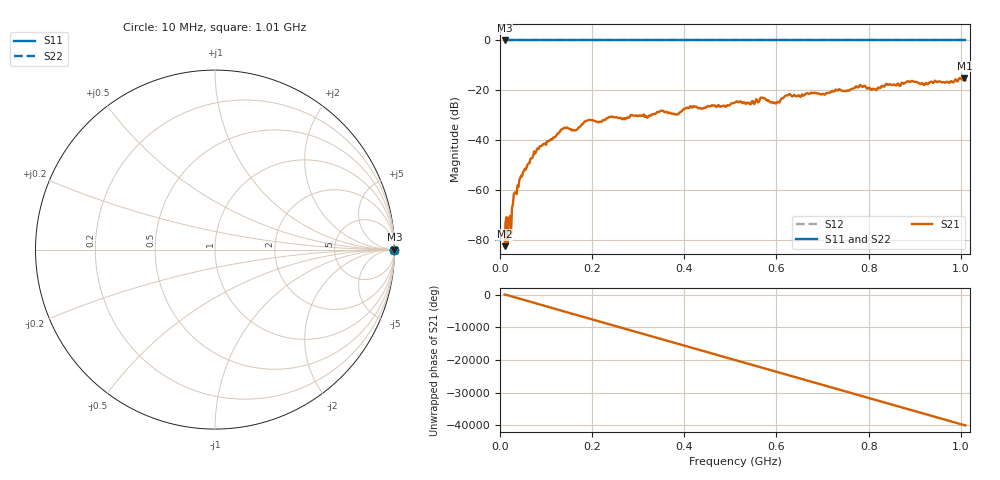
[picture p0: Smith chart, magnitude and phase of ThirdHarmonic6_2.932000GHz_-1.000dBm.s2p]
! 8/17/2025 8:11:34 AM
! C:\ANRITSUVNA\TEMP\TEMP.S2P
! CHANNEL.1
! TR.MEASUREMENT
! RAW.DATA
! RF.CORRECTION.OFF
! AVERAGING.OFF
! IF.BANDWIDTH: 5KHZ
! SWEEPTYPE:  FREQ.SWEEP(Linear)
! Reference Plane Port Info
! PORT:  PORT1  PORT2
! DISTANCE:  0  m  0  m
! TIME:  0  s  0  s
! PHASE.OFFSET:  0  deg.  0  deg.
! LOSS:  0  dB  0  dB
! REF.LOSS:  0  dB  0  dB
! REF.FREQ:  0  Hz  0  Hz
! Power Info
! POWER:  -20  dBm  -20  dBm
! EFF.POWER:  -20  dBm  -20  dBm
! SOURCE.ATTEN:  0  dB  0  dB
! TEST.ATTEN:  0  dB  0  dB
# GHZ S RI R 50.0
! FREQ.GHZ  S11RE  S11IM  S21RE  S21IM  S12RE  S12IM  S22RE  S22IM
!; PortSelection: Port_12
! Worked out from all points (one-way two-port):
!   501 points, 10 MHz to 1.01 GHz, reference 50 ohm
!   highest |S21| = -15.01 dB at 1.008 GHz (marker M1); lowest = -82.6 dB at 10 MHz (marker M2)
!   lowest |S11| = 0.0 dB at 10 MHz (marker M3)
!   |S11| at or under -10 dB: nowhere
!   |S22| runs from 0.0 to 0.0 dB; largest |S21 - S12| = 1.2
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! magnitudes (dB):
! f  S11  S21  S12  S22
! 10 MHz  0.0  -82.6  0.0  0.0
! 18 MHz  0.0  -73.2  0.0  0.0
! 20 MHz  0.0  -71.1  0.0  0.0
! 30 MHz  0.0  -61.7  0.0  0.0
! 46 MHz  0.0  -54.3  0.0  0.0
! 78 MHz  0.0  -44.9  0.0  0.0
! 136 MHz  0.0  -35.6  0.0  0.0
! 164 MHz  0.0  -36.1  0.0  0.0
! 178 MHz  0.0  -33.6  0.0  0.0
! 344 MHz  0.0  -28.8  0.0  0.0
! 384 MHz  0.0  -29.7  0.0  0.0
! 416 MHz  0.0  -26.9  0.0  0.0
! 510 MHz  0.0  -24.9  0.0  0.0
! 548 MHz  0.0  -24.3  0.0  0.0
! 570 MHz  0.0  -23.0  0.0  0.0
! 602 MHz  0.0  -24.6  0.0  0.0
! 626 MHz  0.0  -21.9  0.0  0.0
! 678 MHz  0.0  -21.1  0.0  0.0
! 814 MHz  0.0  -19.6  0.0  0.0
! 844 MHz  0.0  -17.7  0.0  0.0
! 1.008 GHz  0.0  -15.0  0.0  0.0
! 1.01 GHz  0.0  -15.9  0.0  0.0
